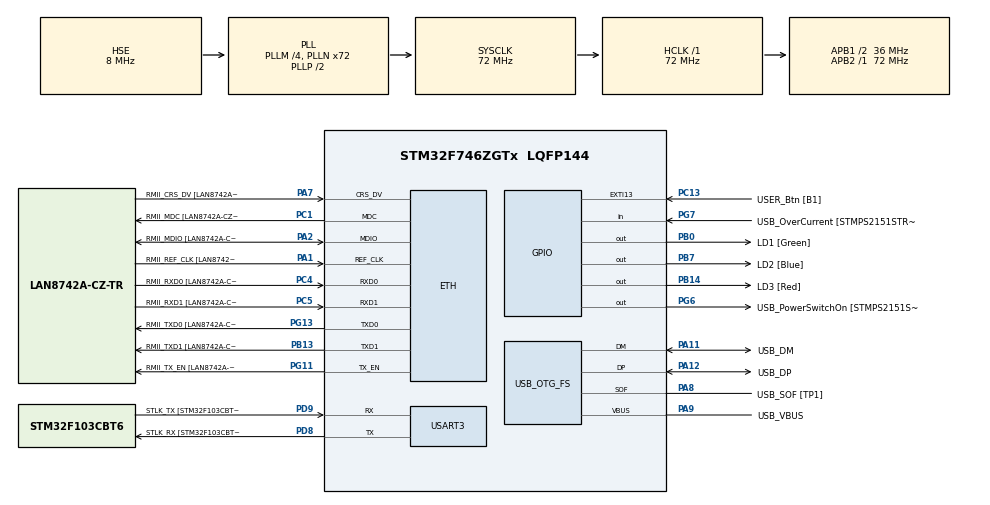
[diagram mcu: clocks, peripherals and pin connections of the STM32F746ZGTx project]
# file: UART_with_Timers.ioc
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ETH.MediaInterface=ETH_MEDIA_INTERFACE_RMII
ETH.PHY_Name=LAN8742A_PHY_ADDRESS
ETH.PHY_Value=0
ETH.PhyAddress=0
Mcu.Family=STM32F7
Mcu.Name=STM32F746ZGTx
Mcu.Package=LQFP144
NVIC.PriorityGroup=NVIC_PRIORITYGROUP_4
NVIC.TIM2_IRQn=true\:0\:0\:false\:false\:true\:true\:true
NVIC.USART3_IRQn=true\:0\:0\:false\:false\:true\:true\:true
PA1.GPIO_Label=RMII_REF_CLK [LAN8742A-CZ-TR_REFCLK0]
PA1.Mode=RMII
PA1.Signal=ETH_REF_CLK
PA10.GPIO_Label=USB_ID
PA10.Signal=USB_OTG_FS_ID
PA11.GPIO_Label=USB_DM
PA11.Mode=Device_Only
PA11.Signal=USB_OTG_FS_DM
PA12.GPIO_Label=USB_DP
PA12.Mode=Device_Only
PA12.Signal=USB_OTG_FS_DP
PA13.GPIO_Label=TMS
PA13.Mode=Serial_Wire
PA13.Signal=SYS_JTMS-SWDIO
PA14.GPIO_Label=TCK
PA14.Mode=Serial_Wire
PA14.Signal=SYS_JTCK-SWCLK
PA2.GPIO_Label=RMII_MDIO [LAN8742A-CZ-TR_MDIO]
PA2.Mode=RMII
PA2.Signal=ETH_MDIO
PA7.GPIO_Label=RMII_CRS_DV [LAN8742A-CZ-TR_CRS_DV]
PA7.Mode=RMII
PA7.Signal=ETH_CRS_DV
PA8.GPIO_Label=USB_SOF [TP1]
PA8.Mode=Activate_SOF_FS
PA8.Signal=USB_OTG_FS_SOF
PA9.GPIO_Label=USB_VBUS
PA9.Mode=Activate_VBUS
PA9.Signal=USB_OTG_FS_VBUS
PB0.GPIO_Label=LD1 [Green]
PB0.Signal=GPIO_Output
PB13.GPIO_Label=RMII_TXD1 [LAN8742A-CZ-TR_TXD1]
PB13.Mode=RMII
PB13.Signal=ETH_TXD1
PB14.GPIO_Label=LD3 [Red]
PB14.Signal=GPIO_Output
PB3.GPIO_Label=SW0
PB3.Signal=SYS_JTDO-SWO
PB7.GPIO_Label=LD2 [Blue]
PB7.Signal=GPIO_Output
PC1.GPIO_Label=RMII_MDC [LAN8742A-CZ-TR_MDC]
PC1.Mode=RMII
PC1.Signal=ETH_MDC
PC13.GPIO_Label=USER_Btn [B1]
PC13.Signal=GPXTI13
PC14/OSC32_IN.Mode=LSE-External-Oscillator
PC14/OSC32_IN.Signal=RCC_OSC32_IN
PC15/OSC32_OUT.Mode=LSE-External-Oscillator
PC15/OSC32_OUT.Signal=RCC_OSC32_OUT
PC4.GPIO_Label=RMII_RXD0 [LAN8742A-CZ-TR_RXD0]
PC4.Mode=RMII
PC4.Signal=ETH_RXD0
PC5.GPIO_Label=RMII_RXD1 [LAN8742A-CZ-TR_RXD1]
PC5.Mode=RMII
PC5.Signal=ETH_RXD1
PD8.GPIO_Label=STLK_RX [STM32F103CBT6_PA3]
PD8.Mode=Asynchronous
PD8.Signal=USART3_TX
PD9.GPIO_Label=STLK_TX [STM32F103CBT6_PA2]
PD9.Mode=Asynchronous
PD9.Signal=USART3_RX
PG11.GPIO_Label=RMII_TX_EN [LAN8742A-CZ-TR_TXEN]
PG11.Mode=RMII
PG11.Signal=ETH_TX_EN
PG13.GPIO_Label=RMII_TXD0 [LAN8742A-CZ-TR_TXD0]
PG13.Mode=RMII
PG13.Signal=ETH_TXD0
PG6.GPIO_Label=USB_PowerSwitchOn [STMPS2151STR_EN]
PG6.Signal=GPIO_Output
PG7.GPIO_Label=USB_OverCurrent [STMPS2151STR_FAULT]
PG7.Signal=GPIO_Input
PH0/OSC_IN.GPIO_Label=MCO [STM32F103CBT6_PA8]
PH0/OSC_IN.Mode=HSE-External-Clock-Source
PH0/OSC_IN.Signal=RCC_OSC_IN
PH1/OSC_OUT.Mode=HSE-External-Clock-Source
PH1/OSC_OUT.Signal=RCC_OSC_OUT
ProjectManager.HeapSize=0x200
ProjectManager.StackSize=0x400
ProjectManager.TargetToolchain=STM32CubeIDE
RCC.48MHZClocksFreq_Value=24000000
RCC.AHBFreq_Value=72000000
RCC.APB1CLKDivider=RCC_HCLK_DIV2
RCC.APB1Freq_Value=36000000
RCC.APB1TimFreq_Value=72000000
RCC.APB2Freq_Value=72000000
RCC.APB2TimFreq_Value=72000000
RCC.CortexFreq_Value=72000000
RCC.HCLKFreq_Value=72000000
RCC.HSE_VALUE=8000000
RCC.HSI_VALUE=16000000
RCC.PLLM=4
RCC.PLLMUL=RCC_PLL_MUL9
RCC.PLLN=72
RCC.PLLQ=3
RCC.PRESCALERUSB=RCC_USBCLKSOURCE_PLL_DIV1_5
RCC.SYSCLKFreq_VALUE=72000000
RCC.SYSCLKSource=RCC_SYSCLKSOURCE_PLLCLK
RCC.SYSCLKSourceVirtual=RCC_SYSCLKSOURCE_PLLCLK
RCC.USBFreq_Value=48000000
RCC.VCOOutputFreq_Value=144000000
TIM2.Period=10000-1
TIM2.Prescaler=7200-1
USART3.VirtualMode-Asynchronous=VM_ASYNC
USB_OTG_FS.VirtualMode=Device_Only
VP_TIM2_VS_ClockSourceINT.Mode=Internal
board=NUCLEO-F746ZG

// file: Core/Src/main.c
/* USER CODE BEGIN Header */
/**
  ******************************************************************************
  * @file           : main.c
  * @brief          : Main program body
  ******************************************************************************
  * @attention
  *
  * <h2><center>&copy; Copyright (c) 2021 STMicroelectronics.
  * All rights reserved.</center></h2>
  *
  * This software component is licensed by ST under BSD 3-Clause license,
  * the "License"; You may not use this file except in compliance with the
  * License. You may obtain a copy of the License at:
  *                        opensource.org/licenses/BSD-3-Clause
  *
  ******************************************************************************
  */
/* USER CODE END Header */

#include "main.h"

/* USER CODE BEGIN Includes */
#include "stdio.h"
#include "string.h"

/* USER CODE END Includes */

ETH_HandleTypeDef heth;

TIM_HandleTypeDef htim2;

UART_HandleTypeDef huart3;

PCD_HandleTypeDef hpcd_USB_OTG_FS;

void SystemClock_Config(void);
static void MX_GPIO_Init(void);
static void MX_ETH_Init(void);
static void MX_USART3_UART_Init(void);
static void MX_USB_OTG_FS_PCD_Init(void);
static void MX_TIM2_Init(void);

/* USER CODE BEGIN 0 */
char msg[50];
char msg1[50];
int buf_len;
uint8_t rcd_data;
uint8_t data_buffer[100];
uint32_t count=0;
uint8_t reception_complete=0;

uint16_t tim_val;
/* USER CODE END 0 */

int main(void)
{

  /* MCU Configuration--------------------------------------------------------*/

  /* Reset of all peripherals, Initializes the Flash interface and the Systick. */
  HAL_Init();

  /* Configure the system clock */
  SystemClock_Config();

  /* Initialize all configured peripherals */
  MX_GPIO_Init();
  MX_ETH_Init();
  MX_USART3_UART_Init();
  MX_USB_OTG_FS_PCD_Init();
  MX_TIM2_Init();
  /* USER CODE BEGIN 2 */

  //say something
  buf_len=sprintf(msg,"Timer test\n");
 HAL_UART_Transmit(&huart3, (uint8_t*)msg, buf_len, 100);

 //start timer
 HAL_TIM_Base_Start_IT(&htim2);
tim_val= __HAL_TIM_GET_COUNTER(&htim2);

  /* USER CODE END 2 */

  /* Infinite loop */
  /* USER CODE BEGIN WHILE */
  while (1)
  {

	  //finding counting difference

/*		if (__HAL_TIM_GET_COUNTER(&htim2) - tim_val >= 10000) {

			HAL_GPIO_TogglePin(LD3_GPIO_Port, LD3_Pin);
			//Get time elapsed
			tim_val = __HAL_TIM_GET_COUNTER(&htim2) - tim_val;

			//print value out
			buf_len = sprintf(msg, "%u  us\r\n", tim_val);
			HAL_UART_Transmit(&huart3, (uint8_t*) msg, buf_len, 100);
			tim_val = __HAL_TIM_GET_COUNTER(&htim2);

		}*/

	  //while(reception_complete !=1)
	  HAL_UART_Receive_IT(&huart3, &rcd_data, 1);
    /* USER CODE END WHILE */

  }
}

void SystemClock_Config(void)
{
  RCC_OscInitTypeDef RCC_OscInitStruct = {0};
  RCC_ClkInitTypeDef RCC_ClkInitStruct = {0};
  RCC_PeriphCLKInitTypeDef PeriphClkInitStruct = {0};

  /** Configure LSE Drive Capability
  */
  HAL_PWR_EnableBkUpAccess();
  /** Configure the main internal regulator output voltage
  */
  __HAL_RCC_PWR_CLK_ENABLE();
  __HAL_PWR_VOLTAGESCALING_CONFIG(PWR_REGULATOR_VOLTAGE_SCALE3);
  /** Initializes the CPU, AHB and APB busses clocks
  */
  RCC_OscInitStruct.OscillatorType = RCC_OSCILLATORTYPE_HSE;
  RCC_OscInitStruct.HSEState = RCC_HSE_BYPASS;
  RCC_OscInitStruct.PLL.PLLState = RCC_PLL_ON;
  RCC_OscInitStruct.PLL.PLLSource = RCC_PLLSOURCE_HSE;
  RCC_OscInitStruct.PLL.PLLM = 4;
  RCC_OscInitStruct.PLL.PLLN = 72;
  RCC_OscInitStruct.PLL.PLLP = RCC_PLLP_DIV2;
  RCC_OscInitStruct.PLL.PLLQ = 3;
  if (HAL_RCC_OscConfig(&RCC_OscInitStruct) != HAL_OK)
  {
    Error_Handler();
  }
  /** Initializes the CPU, AHB and APB busses clocks
  */
  RCC_ClkInitStruct.ClockType = RCC_CLOCKTYPE_HCLK|RCC_CLOCKTYPE_SYSCLK
                              |RCC_CLOCKTYPE_PCLK1|RCC_CLOCKTYPE_PCLK2;
  RCC_ClkInitStruct.SYSCLKSource = RCC_SYSCLKSOURCE_PLLCLK;
  RCC_ClkInitStruct.AHBCLKDivider = RCC_SYSCLK_DIV1;
  RCC_ClkInitStruct.APB1CLKDivider = RCC_HCLK_DIV2;
  RCC_ClkInitStruct.APB2CLKDivider = RCC_HCLK_DIV1;

  if (HAL_RCC_ClockConfig(&RCC_ClkInitStruct, FLASH_LATENCY_2) != HAL_OK)
  {
    Error_Handler();
  }
  PeriphClkInitStruct.PeriphClockSelection = RCC_PERIPHCLK_USART3|RCC_PERIPHCLK_CLK48;
  PeriphClkInitStruct.Usart3ClockSelection = RCC_USART3CLKSOURCE_PCLK1;
  PeriphClkInitStruct.Clk48ClockSelection = RCC_CLK48SOURCE_PLL;
  if (HAL_RCCEx_PeriphCLKConfig(&PeriphClkInitStruct) != HAL_OK)
  {
    Error_Handler();
  }
}

static void MX_ETH_Init(void)
{

  heth.Instance = ETH;
  heth.Init.AutoNegotiation = ETH_AUTONEGOTIATION_ENABLE;
  heth.Init.PhyAddress = LAN8742A_PHY_ADDRESS;
  heth.Init.MACAddr[0] =   0x00;
  heth.Init.MACAddr[1] =   0x80;
  heth.Init.MACAddr[2] =   0xE1;
  heth.Init.MACAddr[3] =   0x00;
  heth.Init.MACAddr[4] =   0x00;
  heth.Init.MACAddr[5] =   0x00;
  heth.Init.RxMode = ETH_RXPOLLING_MODE;
  heth.Init.ChecksumMode = ETH_CHECKSUM_BY_HARDWARE;
  heth.Init.MediaInterface = ETH_MEDIA_INTERFACE_RMII;

  if (HAL_ETH_Init(&heth) != HAL_OK)
  {
    Error_Handler();
  }

}

static void MX_TIM2_Init(void)
{

  TIM_ClockConfigTypeDef sClockSourceConfig = {0};
  TIM_MasterConfigTypeDef sMasterConfig = {0};

  htim2.Instance = TIM2;
  htim2.Init.Prescaler = 7200-1;
  htim2.Init.CounterMode = TIM_COUNTERMODE_UP;
  htim2.Init.Period = 10000-1;
  htim2.Init.ClockDivision = TIM_CLOCKDIVISION_DIV1;
  htim2.Init.AutoReloadPreload = TIM_AUTORELOAD_PRELOAD_DISABLE;
  if (HAL_TIM_Base_Init(&htim2) != HAL_OK)
  {
    Error_Handler();
  }
  sClockSourceConfig.ClockSource = TIM_CLOCKSOURCE_INTERNAL;
  if (HAL_TIM_ConfigClockSource(&htim2, &sClockSourceConfig) != HAL_OK)
  {
    Error_Handler();
  }
  sMasterConfig.MasterOutputTrigger = TIM_TRGO_RESET;
  sMasterConfig.MasterSlaveMode = TIM_MASTERSLAVEMODE_DISABLE;
  if (HAL_TIMEx_MasterConfigSynchronization(&htim2, &sMasterConfig) != HAL_OK)
  {
    Error_Handler();
  }

}

static void MX_USART3_UART_Init(void)
{

  huart3.Instance = USART3;
  huart3.Init.BaudRate = 115200;
  huart3.Init.WordLength = UART_WORDLENGTH_8B;
  huart3.Init.StopBits = UART_STOPBITS_1;
  huart3.Init.Parity = UART_PARITY_NONE;
  huart3.Init.Mode = UART_MODE_TX_RX;
  huart3.Init.HwFlowCtl = UART_HWCONTROL_NONE;
  huart3.Init.OverSampling = UART_OVERSAMPLING_16;
  huart3.Init.OneBitSampling = UART_ONE_BIT_SAMPLE_DISABLE;
  huart3.AdvancedInit.AdvFeatureInit = UART_ADVFEATURE_NO_INIT;
  if (HAL_UART_Init(&huart3) != HAL_OK)
  {
    Error_Handler();
  }

}

static void MX_USB_OTG_FS_PCD_Init(void)
{

  hpcd_USB_OTG_FS.Instance = USB_OTG_FS;
  hpcd_USB_OTG_FS.Init.dev_endpoints = 6;
  hpcd_USB_OTG_FS.Init.speed = PCD_SPEED_FULL;
  hpcd_USB_OTG_FS.Init.dma_enable = DISABLE;
  hpcd_USB_OTG_FS.Init.phy_itface = PCD_PHY_EMBEDDED;
  hpcd_USB_OTG_FS.Init.Sof_enable = ENABLE;
  hpcd_USB_OTG_FS.Init.low_power_enable = DISABLE;
  hpcd_USB_OTG_FS.Init.lpm_enable = DISABLE;
  hpcd_USB_OTG_FS.Init.vbus_sensing_enable = ENABLE;
  hpcd_USB_OTG_FS.Init.use_dedicated_ep1 = DISABLE;
  if (HAL_PCD_Init(&hpcd_USB_OTG_FS) != HAL_OK)
  {
    Error_Handler();
  }

}

static void MX_GPIO_Init(void)
{
  GPIO_InitTypeDef GPIO_InitStruct = {0};

  /* GPIO Ports Clock Enable */
  __HAL_RCC_GPIOC_CLK_ENABLE();
  __HAL_RCC_GPIOH_CLK_ENABLE();
  __HAL_RCC_GPIOA_CLK_ENABLE();
  __HAL_RCC_GPIOB_CLK_ENABLE();
  __HAL_RCC_GPIOD_CLK_ENABLE();
  __HAL_RCC_GPIOG_CLK_ENABLE();

  /*Configure GPIO pin Output Level */
  HAL_GPIO_WritePin(GPIOB, LD1_Pin|LD3_Pin|LD2_Pin, GPIO_PIN_RESET);

  /*Configure GPIO pin Output Level */
  HAL_GPIO_WritePin(USB_PowerSwitchOn_GPIO_Port, USB_PowerSwitchOn_Pin, GPIO_PIN_RESET);

  /*Configure GPIO pin : USER_Btn_Pin */
  GPIO_InitStruct.Pin = USER_Btn_Pin;
  GPIO_InitStruct.Mode = GPIO_MODE_IT_RISING;
  GPIO_InitStruct.Pull = GPIO_NOPULL;
  HAL_GPIO_Init(USER_Btn_GPIO_Port, &GPIO_InitStruct);

  /*Configure GPIO pins : LD1_Pin LD3_Pin LD2_Pin */
  GPIO_InitStruct.Pin = LD1_Pin|LD3_Pin|LD2_Pin;
  GPIO_InitStruct.Mode = GPIO_MODE_OUTPUT_PP;
  GPIO_InitStruct.Pull = GPIO_NOPULL;
  GPIO_InitStruct.Speed = GPIO_SPEED_FREQ_LOW;
  HAL_GPIO_Init(GPIOB, &GPIO_InitStruct);

  /*Configure GPIO pin : USB_PowerSwitchOn_Pin */
  GPIO_InitStruct.Pin = USB_PowerSwitchOn_Pin;
  GPIO_InitStruct.Mode = GPIO_MODE_OUTPUT_PP;
  GPIO_InitStruct.Pull = GPIO_NOPULL;
  GPIO_InitStruct.Speed = GPIO_SPEED_FREQ_LOW;
  HAL_GPIO_Init(USB_PowerSwitchOn_GPIO_Port, &GPIO_InitStruct);

  /*Configure GPIO pin : USB_OverCurrent_Pin */
  GPIO_InitStruct.Pin = USB_OverCurrent_Pin;
  GPIO_InitStruct.Mode = GPIO_MODE_INPUT;
  GPIO_InitStruct.Pull = GPIO_NOPULL;
  HAL_GPIO_Init(USB_OverCurrent_GPIO_Port, &GPIO_InitStruct);

}

/* USER CODE BEGIN 4 */

void HAL_TIM_PeriodElapsedCallback(TIM_HandleTypeDef *htim)
{
	if(htim==&htim2)
	{

		HAL_GPIO_TogglePin(LD2_GPIO_Port, LD2_Pin);
		//Get time elapsed
		tim_val = __HAL_TIM_GET_COUNTER(&htim2) - tim_val;

		//print value out
		buf_len = sprintf(msg, "%u  us\r\n", tim_val);
		//HAL_UART_Transmit(&huart3, (uint8_t*) msg, buf_len, 100);
		 // HAL_UART_Transmit(&huart3, data_buffer, count, 100);

		tim_val = __HAL_TIM_GET_COUNTER(&htim2);

	}
}

void HAL_UART_RxCpltCallback(UART_HandleTypeDef *huart)
{
     if(rcd_data=='\r')
     {
    	 reception_complete=1;
    	 //data_buffer[count++]='r';
    	 HAL_UART_Transmit(&huart3, data_buffer, count, 100);
    	 for(int i=0;i<count;i++)
    		 data_buffer[i]=0;
    	 count=0;

     }

     else
     { data_buffer[count++]=rcd_data;

     }

}

/* USER CODE END 4 */

void Error_Handler(void)
{
}

/************************ (C) COPYRIGHT STMicroelectronics *****END OF FILE****/
